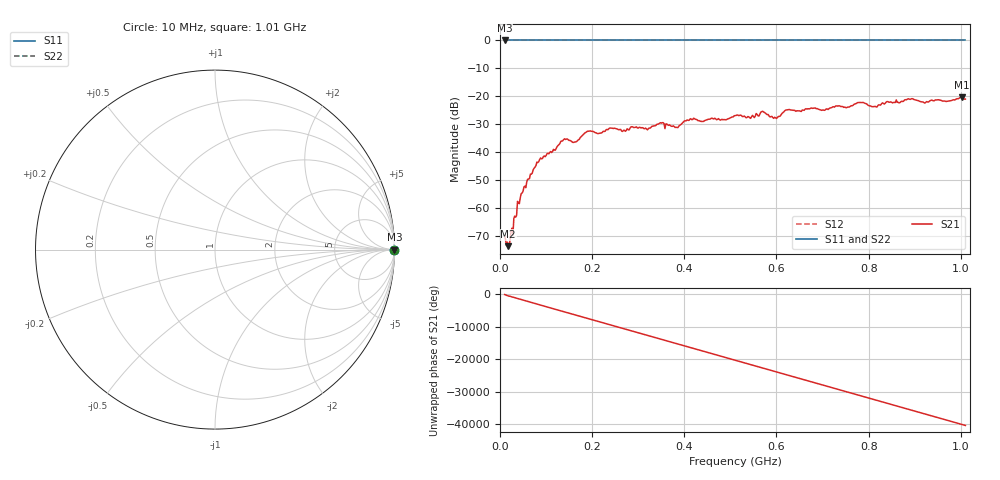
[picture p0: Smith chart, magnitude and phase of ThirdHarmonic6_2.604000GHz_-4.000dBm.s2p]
! 8/17/2025 5:39:22 AM
! C:\ANRITSUVNA\TEMP\TEMP.S2P
! CHANNEL.1
! TR.MEASUREMENT
! RAW.DATA
! RF.CORRECTION.OFF
! AVERAGING.OFF
! IF.BANDWIDTH: 5KHZ
! SWEEPTYPE:  FREQ.SWEEP(Linear)
! Reference Plane Port Info
! PORT:  PORT1  PORT2
! DISTANCE:  0  m  0  m
! TIME:  0  s  0  s
! PHASE.OFFSET:  0  deg.  0  deg.
! LOSS:  0  dB  0  dB
! REF.LOSS:  0  dB  0  dB
! REF.FREQ:  0  Hz  0  Hz
! Power Info
! POWER:  -20  dBm  -20  dBm
! EFF.POWER:  -20  dBm  -20  dBm
! SOURCE.ATTEN:  0  dB  0  dB
! TEST.ATTEN:  0  dB  0  dB
# GHZ S RI R 50.0
! FREQ.GHZ  S11RE  S11IM  S21RE  S21IM  S12RE  S12IM  S22RE  S22IM
!; PortSelection: Port_12
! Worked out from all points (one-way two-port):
!   501 points, 10 MHz to 1.01 GHz, reference 50 ohm
!   highest |S21| = -20.36 dB at 1.002 GHz (marker M1); lowest = -73.5 dB at 18 MHz (marker M2)
!   lowest |S11| = 0.0 dB at 10 MHz (marker M3)
!   |S11| at or under -10 dB: nowhere
!   |S22| runs from 0.0 to 0.0 dB; largest |S21 - S12| = 1.1
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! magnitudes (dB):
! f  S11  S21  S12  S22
! 10 MHz  0.0  -69.8  0.0  0.0
! 18 MHz  0.0  -73.5  0.0  0.0
! 42 MHz  0.0  -58.3  0.0  0.0
! 84 MHz  0.0  -43.3  0.0  0.0
! 136 MHz  0.0  -35.9  0.0  0.0
! 162 MHz  0.0  -36.3  0.0  0.0
! 178 MHz  0.0  -34.0  0.0  0.0
! 192 MHz  0.0  -32.4  0.0  0.0
! 344 MHz  0.0  -29.9  0.0  0.0
! 384 MHz  0.0  -31.1  0.0  0.0
! 416 MHz  0.0  -28.3  0.0  0.0
! 510 MHz  0.0  -26.8  0.0  0.0
! 540 MHz  0.0  -27.3  0.0  0.0
! 570 MHz  0.0  -25.3  0.0  0.0
! 598 MHz  0.0  -27.6  0.0  0.0
! 624 MHz  0.0  -24.8  0.0  0.0
! 678 MHz  0.0  -24.3  0.0  0.0
! 780 MHz  0.0  -22.2  0.0  0.0
! 814 MHz  0.0  -23.5  0.0  0.0
! 844 MHz  0.0  -22.1  0.0  0.0
! 1.002 GHz  0.0  -20.4  0.0  0.0
! 1.01 GHz  0.0  -20.9  0.0  0.0
